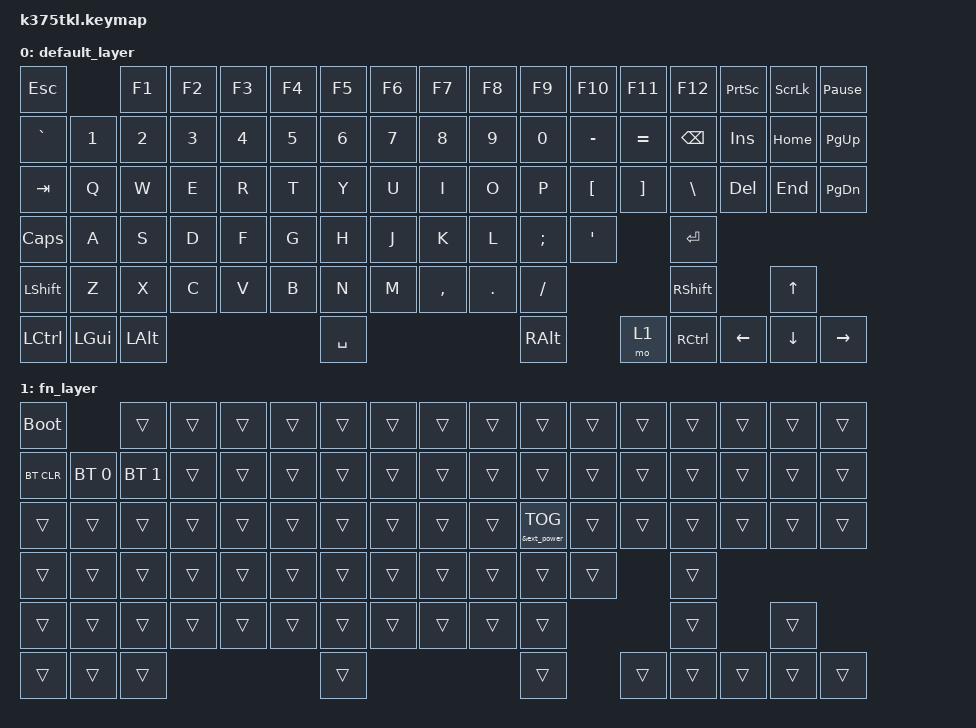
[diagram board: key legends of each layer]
#include <behaviors.dtsi>
#include <dt-bindings/zmk/keys.h>
#include <dt-bindings/zmk/bt.h>

/*

*/


/ {
    keymap {
        compatible = "zmk,keymap";

        default_layer {
            bindings = <
&kp ESC             &kp F1  &kp F2  &kp F3  &kp F4  &kp F5    &kp F6  &kp F7    &kp F8  &kp F9   &kp F10    &kp F11    &kp F12      &kp PSCRN &kp SLCK  &kp PAUSE_BREAK
&kp GRAVE  &kp N1   &kp N2  &kp N3  &kp N4  &kp N5  &kp N6    &kp N7  &kp N8    &kp N9  &kp N0   &kp MINUS  &kp EQUAL  &kp BSPC     &kp INS   &kp HOME  &kp PG_UP
&kp TAB    &kp Q    &kp W   &kp E   &kp R   &kp T   &kp Y     &kp U   &kp I     &kp O   &kp P    &kp LBKT   &kp RBKT   &kp BSLH     &kp DEL   &kp END   &kp PG_DN
&kp CLCK   &kp A    &kp S   &kp D   &kp F   &kp G   &kp H     &kp J   &kp K     &kp L   &kp SEMI &kp SQT               &kp RET
&kp LSHFT  &kp Z    &kp X   &kp C   &kp V   &kp B   &kp N     &kp M   &kp COMMA &kp DOT &kp FSLH                       &kp RSHFT              &kp UP
&kp LCTRL  &kp LGUI &kp LALT                        &kp SPACE                           &kp RALT            &mo 1      &kp RCTRL    &kp LEFT  &kp DOWN  &kp RIGHT
            >;
        };

        fn_layer {
            bindings = <
&bootloader               &trans          &trans  &trans  &trans  &trans  &trans  &trans  &trans  &trans              &trans  &trans  &trans    &trans  &trans  &trans
&bt BT_CLR  &bt BT_SEL 0  &bt BT_SEL 1    &trans  &trans  &trans  &trans  &trans  &trans  &trans  &trans              &trans  &trans  &trans    &trans  &trans  &trans
&trans      &trans        &trans          &trans  &trans  &trans  &trans  &trans  &trans  &trans  &&ext_power EP_TOG  &trans  &trans  &trans    &trans  &trans  &trans
&trans      &trans        &trans          &trans  &trans  &trans  &trans  &trans  &trans  &trans  &trans              &trans          &trans
&trans      &trans        &trans          &trans  &trans  &trans  &trans  &trans  &trans  &trans  &trans                              &trans            &trans
&trans      &trans        &trans                                  &trans                          &trans                  &trans      &trans    &trans  &trans  &trans
            >;
        };
    };
};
